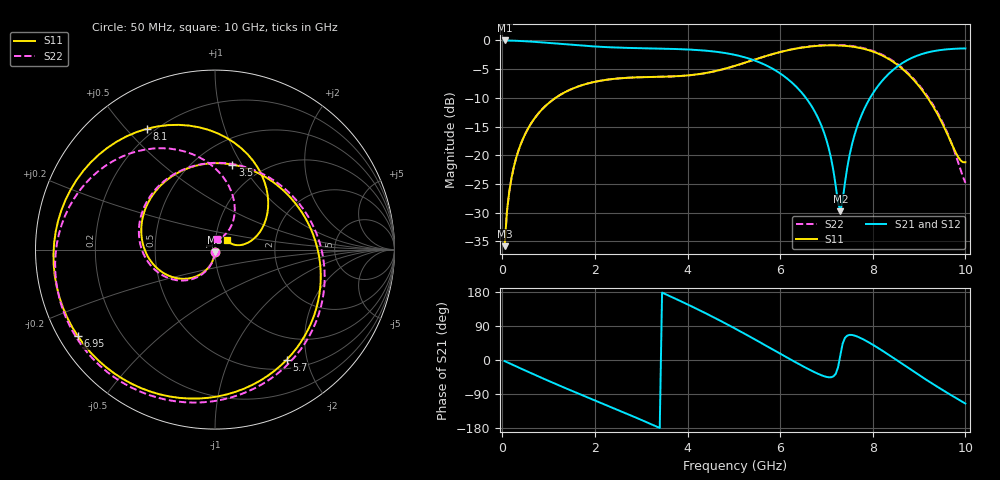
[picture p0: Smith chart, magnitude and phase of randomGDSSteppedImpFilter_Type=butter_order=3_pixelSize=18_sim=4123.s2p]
! freq	dB(S11)	phase(S11)	dB(S12)	phase(S12)
!  dB(S21)	phase(S21)	dB(S22)	phase(S22)
!S-par simulation data
#  GHz  S  DB  R 50
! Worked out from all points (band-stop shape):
!   200 points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, 50 MHz to 10 GHz, reference 50 ohm
!   highest |S21| = -0.01 dB at 50 MHz (marker M1); lowest = -29.7 dB at 7.3 GHz (marker M2)
!   |S21| within 3 dB of the highest: start of sweep to 5.264 GHz; 8.853 GHz to end of sweep
!   lowest |S11| = -35.8 dB at 50 MHz (marker M3), VSWR 1.03, Z = 49.9 - j1.61 ohm
!   |S11| at or under -10 dB: start of sweep to 1.15 GHz; 9.185 GHz to end of sweep
!   |S22| runs from -35.8 to -0.8 dB; largest |S21 - S12| = 0
!   S11 on the Smith chart (normalised r, x): 50 MHz: 1.00, -0.03; 3.5 GHz: 0.74, +0.91; 5.7 GHz: 0.63, -1.66; 6.95 GHz: 0.05, -0.29; 8.1 GHz: 0.17, +0.57; 10 GHz: 1.14, +0.13
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0.05  -35.83 -92.8  -0.01 -2.9  -0.01 -2.9  -35.83 -92.6
0.1  -29.84 -95.9  -0.01 -5.7  -0.01 -5.7  -29.84 -95.5
0.2  -23.89 -101.9  -0.04 -11.3  -0.04 -11.3  -23.89 -101.2
0.5  -16.21 -119.5  -0.14 -28.0  -0.14 -28.0  -16.21 -117.6
1.1  -10.29 -153.1  -0.50 -60.4  -0.50 -60.4  -10.28 -149.0
1.75  -7.72 172.0  -0.93 -94.0  -0.93 -94.0  -7.72 178.6
2.65  -6.53 124.6  -1.29 -139.7  -1.29 -139.7  -6.53 134.7
3.4  -6.33 84.0  -1.42 -179.4  -1.42 -179.4  -6.34 96.2
3.5  -6.31 78.5  -1.44 175.1  -1.44 175.1  -6.32 90.7
4.4  -5.66 26.8  -1.79 122.8  -1.79 122.8  -5.68 38.1
5.05  -4.36 -13.3  -2.56 81.5  -2.56 81.5  -4.37 -4.4
5.7  -2.70 -57.0  -4.35 37.4  -4.35 37.4  -2.70 -49.4
6.25  -1.57 -96.2  -7.31 -0.3  -7.31 -0.3  -1.54 -87.5
6.7  -1.02 -129.1  -11.73 -29.6  -11.73 -29.6  -0.97 -118.1
6.95  -0.88 -147.8  -16.10 -42.8  -16.10 -42.8  -0.81 -134.9
7.3  -0.89 -174.5  -29.75 12.7  -29.75 12.7  -0.80 -158.3
7.6  -1.13 161.6  -16.63 64.7  -16.63 64.7  -1.03 -178.7
8.1  -2.24 119.4  -8.08 32.9  -8.08 32.9  -2.12 146.1
8.35  -3.26 97.4  -5.78 13.2  -5.78 13.2  -3.13 128.2
9  -7.97 42.1  -2.53 -39.8  -2.53 -39.8  -7.78 83.8
9.5  -14.42 12.0  -1.64 -78.6  -1.64 -78.6  -14.14 58.3
10  -21.22 39.1  -1.39 -114.9  -1.39 -114.9  -24.79 79.7
